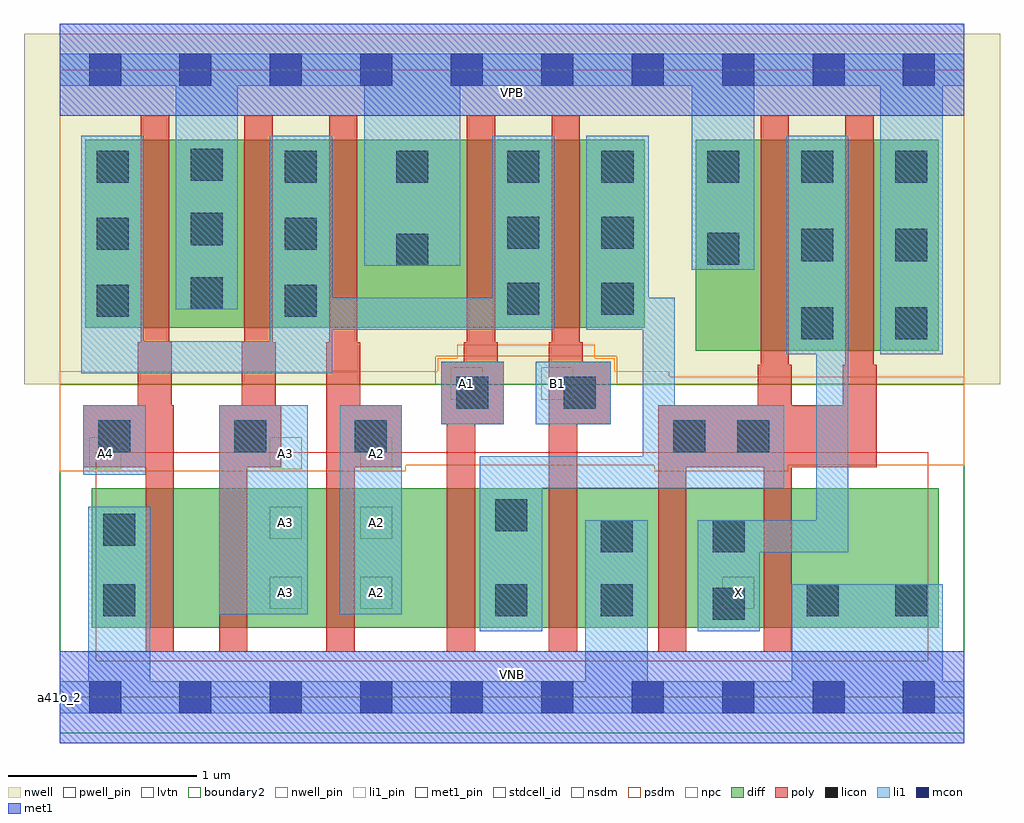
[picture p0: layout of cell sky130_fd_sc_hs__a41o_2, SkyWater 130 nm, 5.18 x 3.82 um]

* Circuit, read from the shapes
.subckt sky130_fd_sc_hs__a41o_2 A1 A2 A3 A4 B1 VGND VNB VPB VPWR X
XM1 n1 A4 VGND VNB sky130_fd_pr__nfet_01v8_lvt w=0.74 l=0.15
XM2 n2 A3 n1 VNB sky130_fd_pr__nfet_01v8_lvt w=0.74 l=0.15
XM3 n3 A2 n2 VNB sky130_fd_pr__nfet_01v8_lvt w=0.74 l=0.15
XM4 n4 A1 n3 VNB sky130_fd_pr__nfet_01v8_lvt w=0.74 l=0.15
XM5 VGND B1 n4 VNB sky130_fd_pr__nfet_01v8_lvt w=0.74 l=0.15
XM6 X n4 VGND VNB sky130_fd_pr__nfet_01v8_lvt w=0.74 l=0.15 m=2
XM7 VPWR A4 n5 VPB sky130_fd_pr__pfet_01v8 w=1 l=0.15
XM8 n5 A3 VPWR VPB sky130_fd_pr__pfet_01v8 w=1 l=0.15
XM9 VPWR A2 n5 VPB sky130_fd_pr__pfet_01v8 w=1 l=0.15
XM10 n5 A1 VPWR VPB sky130_fd_pr__pfet_01v8 w=1 l=0.15
XM11 n4 B1 n5 VPB sky130_fd_pr__pfet_01v8 w=1 l=0.15
XM12 X n4 VPWR VPB sky130_fd_pr__pfet_01v8 w=1.12 l=0.15 m=2
.ends

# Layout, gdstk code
import gdstk
lib = gdstk.Library(unit=1e-6, precision=1e-09)
def R(c, l, rs):  # rectangles x0, y0, x1, y1
    for r in rs: c.add(gdstk.rectangle(r[:2], r[2:], *l))
def A(c, l, x, y, w, h, nx, ny, dx, dy):  # array of equal rectangles
    R(c, l, [(x+i*dx, y+j*dy, x+i*dx+w, y+j*dy+h) for i in range(nx) for j in range(ny)])
def P(c, l, *ps):  # polygons
    for p in ps: c.add(gdstk.Polygon(p, *l))
nwell_pin = (64, 16)
nwell = (64, 20)
diff = (65, 20)
poly = (66, 20)
licon = (66, 44)
li1_pin = (67, 16)
li1 = (67, 20)
mcon = (67, 44)
met1_pin = (68, 16)
met1 = (68, 20)
stdcell_id = (81, 4)
nsdm = (93, 44)
psdm = (94, 20)
npc = (95, 20)
pwell_pin = (122, 16)
lvtn = (125, 44)
boundary2 = (236, 0)

sky130_fd_sc_hs__a41o_2 = lib.new_cell('sky130_fd_sc_hs__a41o_2')
R(sky130_fd_sc_hs__a41o_2, nwell_pin, [(0,3.085,4.8,3.33)])
R(sky130_fd_sc_hs__a41o_2, nwell, [(-0.19,1.66,4.99,3.52)])
R(sky130_fd_sc_hs__a41o_2, diff, [(0.17,0.37,4.665,1.11), (3.375,1.84,4.665,2.96), (0.135,1.96,3.105,2.96)])
P(sky130_fd_sc_hs__a41o_2, poly, [(4.335,1.765),(4.32,1.765),(4.32,3.09),(4.17,3.09),(4.17,1.765),(4.155,1.765),(4.155,1.55),(3.885,1.55),(3.885,1.765),(3.87,1.765),(3.87,3.09),(3.72,3.09),(3.72,1.765),(3.705,1.765),(3.705,1.55),(3.175,1.55),(3.175,0.24),(3.325,0.24),(3.325,1.22),(3.735,1.22),(3.735,0.24),(3.885,0.24),(3.885,1.22),(4.335,1.22)],
  [(2.925,1.78),(2.775,1.78),(2.775,1.885),(2.76,1.885),(2.76,3.09),(2.61,3.09),(2.61,1.885),(2.595,1.885),(2.595,0.24),(2.745,0.24),(2.745,1.45),(2.925,1.45)],
  [(2.355,1.78),(2.325,1.78),(2.325,1.885),(2.31,1.885),(2.31,3.09),(2.16,3.09),(2.16,1.885),(2.145,1.885),(2.145,1.78),(2.025,1.78),(2.025,1.45),(2.055,1.45),(2.055,0.24),(2.205,0.24),(2.205,1.45),(2.355,1.45)],
  [(1.815,1.55),(1.595,1.55),(1.595,1.885),(1.58,1.885),(1.58,3.09),(1.43,3.09),(1.43,1.885),(1.415,1.885),(1.415,0.24),(1.565,0.24),(1.565,1.22),(1.815,1.22)],
  [(1.175,1.55),(1.145,1.55),(1.145,1.885),(1.13,1.885),(1.13,3.09),(0.98,3.09),(0.98,1.885),(0.965,1.885),(0.965,1.55),(0.845,1.55),(0.845,0.24),(0.995,0.24),(0.995,1.22),(1.175,1.22)],
  [(0.605,1.55),(0.595,1.55),(0.595,1.885),(0.58,1.885),(0.58,3.09),(0.43,3.09),(0.43,1.885),(0.415,1.885),(0.415,1.55),(0.125,1.55),(0.125,1.22),(0.455,1.22),(0.455,0.24),(0.605,0.24)])
A(sky130_fd_sc_hs__a41o_2, licon, 0.195, 2.02, 0.17, 0.17, 1, 3, 0, 0.355)
A(sky130_fd_sc_hs__a41o_2, licon, 2.875, 2.03, 0.17, 0.17, 1, 3, 0, 0.35)
A(sky130_fd_sc_hs__a41o_2, licon, 0.695, 2.06, 0.17, 0.17, 1, 3, 0, 0.34)
A(sky130_fd_sc_hs__a41o_2, licon, 1.195, 2.73, 0.17, 0.17, 3, 1, 0.59, 0)
A(sky130_fd_sc_hs__a41o_2, licon, 3.435, 2.73, 0.17, 0.17, 3, 1, 0.5, 0)
R(sky130_fd_sc_hs__a41o_2, licon, [(3.465,0.41,3.635,0.58), (0.23,0.43,0.4,0.6), (2.31,0.43,2.48,0.6), (2.87,0.43,3.04,0.6), (3.965,0.43,4.135,0.6), (4.435,0.43,4.605,0.6), (2.87,0.77,3.04,0.94), (3.465,0.77,3.635,0.94), (0.23,0.805,0.4,0.975), (2.31,0.88,2.48,1.05), (0.205,1.3,0.375,1.47), (0.925,1.3,1.095,1.47), (1.565,1.3,1.735,1.47), (3.255,1.3,3.425,1.47), (3.595,1.3,3.765,1.47), (2.105,1.53,2.275,1.7), (2.675,1.53,2.845,1.7), (3.935,1.9,4.105,2.07), (4.435,1.9,4.605,2.07), (1.195,2.02,1.365,2.19), (2.375,2.03,2.545,2.2), (1.785,2.29,1.955,2.46), (3.435,2.295,3.605,2.465), (3.935,2.315,4.105,2.485), (4.435,2.315,4.605,2.485), (1.195,2.375,1.365,2.545), (2.375,2.38,2.545,2.55)])
A(sky130_fd_sc_hs__a41o_2, li1_pin, 1.115, 0.47, 0.17, 0.17, 1, 3, 0, 0.37)
A(sky130_fd_sc_hs__a41o_2, li1_pin, 1.595, 0.47, 0.17, 0.17, 1, 3, 0, 0.37)
R(sky130_fd_sc_hs__a41o_2, li1_pin, [(3.515,0.47,3.685,0.64), (0.155,1.21,0.325,1.38), (2.075,1.58,2.245,1.75), (2.555,1.58,2.725,1.75)])
R(sky130_fd_sc_hs__a41o_2, li1, [(0.845,0.44,1.315,1.55), (1.485,0.44,1.815,1.55), (0.125,1.18,0.455,1.55), (2.025,1.45,2.355,1.78), (2.525,1.45,2.925,1.78)])
P(sky130_fd_sc_hs__a41o_2, li1, [(0,-0.085),(0,0.085),(0.15,0.085),(0.15,1.01),(0.48,1.01),(0.48,0.085),(2.79,0.085),(2.79,0.94),(3.12,0.94),(3.12,0.085),(3.885,0.085),(3.885,0.6),(4.685,0.6),(4.685,0.085),(4.8,0.085),(4.8,-0.085)],
  [(0,3.245),(0,3.415),(4.8,3.415),(4.8,3.245),(4.685,3.245),(4.685,1.82),(4.355,1.82),(4.355,3.245),(3.685,3.245),(3.685,2.27),(3.355,2.27),(3.355,3.245),(2.125,3.245),(2.125,2.29),(1.615,2.29),(1.615,3.245),(0.945,3.245),(0.945,2.06),(0.615,2.06),(0.615,3.245)],
  [(3.385,0.35),(3.385,0.94),(4.015,0.94),(4.015,1.82),(3.855,1.82),(3.855,2.98),(4.185,2.98),(4.185,0.77),(3.715,0.77),(3.715,0.35)],
  [(0.445,1.89),(1.115,1.89),(1.115,2.98),(1.445,2.98),(1.445,2.12),(2.295,2.12),(2.295,2.98),(2.625,2.98),(2.625,1.95),(1.445,1.95),(1.445,1.72),(0.115,1.72),(0.115,2.98),(0.445,2.98)],
  [(3.095,1.28),(3.095,1.95),(2.795,1.95),(2.795,2.98),(3.125,2.98),(3.125,2.12),(3.265,2.12),(3.265,1.55),(3.845,1.55),(3.845,1.11),(2.56,1.11),(2.56,0.35),(2.23,0.35),(2.23,1.28)])
A(sky130_fd_sc_hs__a41o_2, mcon, 0.155, -0.085, 0.17, 0.17, 10, 2, 0.48, 3.33)
R(sky130_fd_sc_hs__a41o_2, met1_pin, [(0,0,4.8,0.245), (0,3.085,4.8,3.33)])
R(sky130_fd_sc_hs__a41o_2, met1, [(0,-0.245,4.8,0.245), (0,3.085,4.8,3.575)])
R(sky130_fd_sc_hs__a41o_2, stdcell_id, [(0,0,4.8,3.33)])
R(sky130_fd_sc_hs__a41o_2, nsdm, [(0,-0.19,4.8,1.66)])
P(sky130_fd_sc_hs__a41o_2, psdm, [(4.8,3.52),(0,3.52),(0,1.66),(1.995,1.66),(1.995,1.81),(2.955,1.81),(2.955,1.66),(4.8,1.66)])
P(sky130_fd_sc_hs__a41o_2, npc, [(4.8,1.7),(3.235,1.7),(3.235,1.73),(2.945,1.73),(2.945,1.8),(2.84,1.8),(2.84,1.87),(2.11,1.87),(2.11,1.8),(2.005,1.8),(2.005,1.73),(0,1.73),(0,1.2),(1.835,1.2),(1.835,1.23),(3.155,1.23),(3.155,1.2),(3.865,1.2),(3.865,1.23),(4.8,1.23)])
R(sky130_fd_sc_hs__a41o_2, pwell_pin, [(0,0,4.8,0.245)])
R(sky130_fd_sc_hs__a41o_2, lvtn, [(0.19,0.19,4.61,1.3)])
R(sky130_fd_sc_hs__a41o_2, boundary2, [(0,0,4.8,3.33)])
sky130_fd_sc_hs__a41o_2.add(gdstk.Label('a41o_2', (0,0), layer=83, texttype=44))
sky130_fd_sc_hs__a41o_2.add(gdstk.Label('VNB', (2.4,0.123), layer=64, texttype=59))
sky130_fd_sc_hs__a41o_2.add(gdstk.Label('VPB', (2.4,3.208), layer=64, texttype=5))
sky130_fd_sc_hs__a41o_2.add(gdstk.Label('VPWR', (2.4,3.208), layer=68, texttype=5))
sky130_fd_sc_hs__a41o_2.add(gdstk.Label('VGND', (2.4,0.123), layer=68, texttype=5))
sky130_fd_sc_hs__a41o_2.add(gdstk.Label('A1', (2.16,1.665), layer=67, texttype=5))
sky130_fd_sc_hs__a41o_2.add(gdstk.Label('A2', (1.68,0.555), layer=67, texttype=5))
sky130_fd_sc_hs__a41o_2.add(gdstk.Label('A2', (1.68,0.925), layer=67, texttype=5))
sky130_fd_sc_hs__a41o_2.add(gdstk.Label('A2', (1.68,1.295), layer=67, texttype=5))
sky130_fd_sc_hs__a41o_2.add(gdstk.Label('A3', (1.2,0.555), layer=67, texttype=5))
sky130_fd_sc_hs__a41o_2.add(gdstk.Label('A3', (1.2,0.925), layer=67, texttype=5))
sky130_fd_sc_hs__a41o_2.add(gdstk.Label('A3', (1.2,1.295), layer=67, texttype=5))
sky130_fd_sc_hs__a41o_2.add(gdstk.Label('A4', (0.24,1.295), layer=67, texttype=5))
sky130_fd_sc_hs__a41o_2.add(gdstk.Label('B1', (2.64,1.665), layer=67, texttype=5))
sky130_fd_sc_hs__a41o_2.add(gdstk.Label('X', (3.6,0.555), layer=67, texttype=5))

lib.write_gds('sky130_fd_sc_hs__a41o_2.gds')
